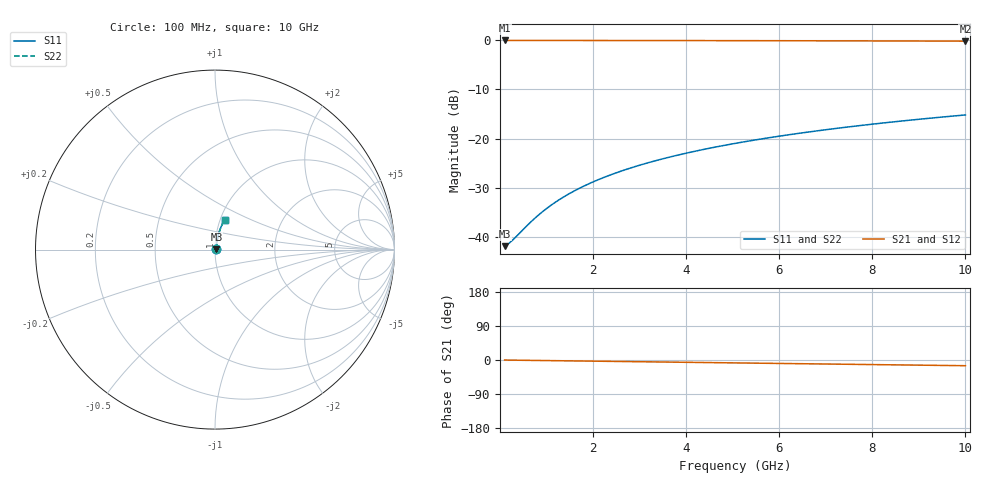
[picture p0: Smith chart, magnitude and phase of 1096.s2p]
# Hz S RI R 50.00
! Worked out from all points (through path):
!   100 points, 100 MHz to 10 GHz, reference 50 ohm
!   highest |S21| = -0.07 dB at 100 MHz (marker M1); lowest = -0.2 dB at 10 GHz (marker M2)
!   group delay of S21, straight-line fit = 4.19 ps
!   lowest |S11| = -41.8 dB at 100 MHz (marker M3), VSWR 1.02, Z = 50.8 + j0.178 ohm
!   |S11| at or under -10 dB: start of sweep to end of sweep
!   |S22| runs from -41.8 to -15.2 dB; largest |S21 - S12| = 0
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1e8  0.00791 0.00175  0.9921 -0.00263  0.9921 -0.00263  0.00791 0.00175
2e8  0.00797 0.0035  0.992 -0.00526  0.992 -0.00526  0.00797 0.0035
3e8  0.00803 0.00525  0.992 -0.00788  0.992 -0.00788  0.00803 0.00525
7e8  0.00832 0.0123  0.9917 -0.0184  0.9917 -0.0184  0.00832 0.0123
8e8  0.00841 0.014  0.9916 -0.021  0.9916 -0.021  0.00841 0.014
1e9  0.00861 0.0175  0.9913 -0.0263  0.9913 -0.0263  0.00861 0.0175
1.2e9  0.00884 0.021  0.9911 -0.0315  0.9911 -0.0315  0.00884 0.021
1.4e9  0.00911 0.0245  0.9908 -0.0368  0.9908 -0.0368  0.00911 0.0245
1.6e9  0.00941 0.028  0.9905 -0.042  0.9905 -0.042  0.00941 0.028
1.8e9  0.00975 0.0314  0.9901 -0.0472  0.9901 -0.0472  0.00975 0.0314
2.1e9  0.0103 0.0367  0.9895 -0.0551  0.9895 -0.0551  0.0103 0.0367
2.5e9  0.0112 0.0436  0.9885 -0.0655  0.9885 -0.0655  0.0112 0.0436
2.9e9  0.0122 0.0505  0.9874 -0.076  0.9874 -0.076  0.0122 0.0505
3.4e9  0.0137 0.0591  0.9858 -0.0889  0.9858 -0.0889  0.0137 0.0591
3.8e9  0.0151 0.066  0.9843 -0.0993  0.9843 -0.0993  0.0151 0.066
4.2e9  0.0166 0.0728  0.9827 -0.1096  0.9827 -0.1096  0.0166 0.0728
5.1e9  0.0205 0.0879  0.9785 -0.1327  0.9785 -0.1327  0.0205 0.0879
5.9e9  0.0245 0.1012  0.9741 -0.1531  0.9741 -0.1531  0.0245 0.1012
6.7e9  0.0291 0.1143  0.9691 -0.1732  0.9691 -0.1732  0.0291 0.1143
7.5e9  0.0342 0.1272  0.9636 -0.1931  0.9636 -0.1931  0.0342 0.1272
8.4e9  0.0406 0.1413  0.9566 -0.2152  0.9566 -0.2152  0.0406 0.1413
1e10  0.0534 0.1655  0.9426 -0.2536  0.9426 -0.2536  0.0534 0.1655
